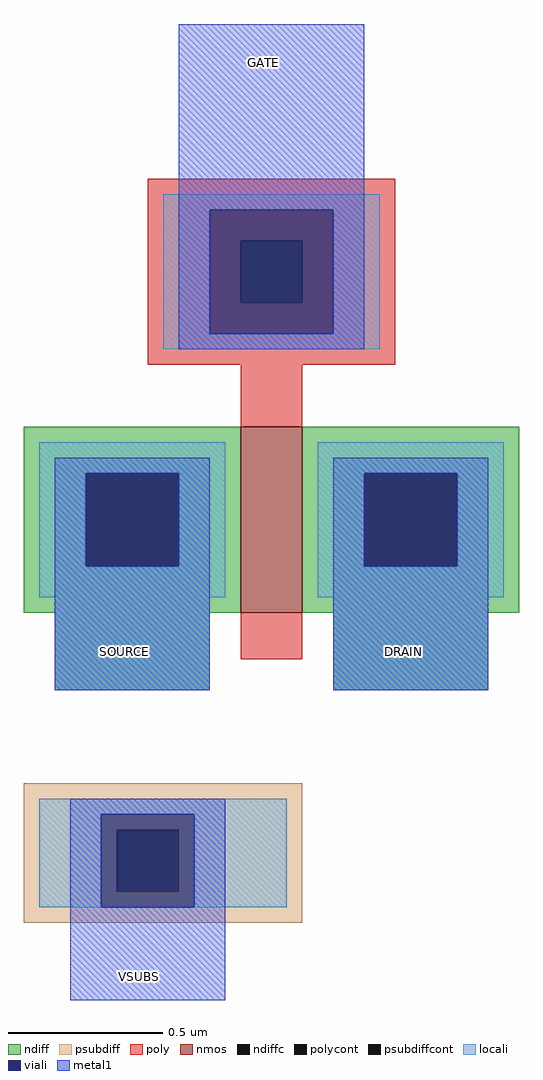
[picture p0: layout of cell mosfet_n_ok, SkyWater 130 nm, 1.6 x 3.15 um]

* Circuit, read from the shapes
.subckt mosfet_n_ok SOURCE DRAIN GATE VSUBS
XM1 DRAIN GATE SOURCE VSUBS sky130_fd_pr__nfet_01v8 w=0.6 l=0.2
.ends

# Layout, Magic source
magic
tech sky130A
<< nmos >>
rect 20 0 40 60
<< ndiff >>
rect -50 45 20 60
rect -50 15 -30 45
rect 0 15 20 45
rect -50 0 20 15
rect 40 45 110 60
rect 40 15 60 45
rect 90 15 110 45
rect 40 0 110 15
rect -40 -25 10 0
rect 50 -25 100 0
<< ndiffc >>
rect -30 15 0 45
rect 60 15 90 45
<< psubdiff >>
rect -50 -70 40 -55
rect -50 -90 -20 -70
rect 0 -90 40 -70
rect -50 -100 40 -90
<< psubdiffcont >>
rect -20 -90 0 -70
<< poly >>
rect -10 120 70 140
rect -10 100 20 120
rect 40 100 70 120
rect -10 80 70 100
rect 20 60 40 80
rect 20 -15 40 0
<< polycont >>
rect 20 100 40 120
<< locali >>
rect -5 130 65 135
rect -5 90 10 130
rect 50 90 65 130
rect -5 85 65 90
rect -45 45 15 55
rect -45 15 -30 45
rect 0 15 15 45
rect -45 5 15 15
rect 45 45 105 55
rect 45 15 60 45
rect 90 15 105 45
rect 45 5 105 15
rect -40 -25 10 5
rect 50 -25 100 5
rect -45 -65 35 -60
rect -45 -95 -25 -65
rect 5 -95 35 -65
<< viali >>
rect 10 120 50 130
rect 10 100 20 120
rect 20 100 40 120
rect 40 100 50 120
rect 10 90 50 100
rect -30 15 0 45
rect 60 15 90 45
rect -25 -70 5 -65
rect -25 -90 -20 -70
rect -20 -90 0 -70
rect 0 -90 5 -70
rect -25 -95 5 -90
<< metal1 >>
rect 0 130 60 190
rect 0 90 10 130
rect 50 90 60 130
rect 0 85 60 90
rect -40 45 10 50
rect -40 15 -30 45
rect 0 15 10 45
rect -40 -25 10 15
rect 50 45 100 50
rect 50 15 60 45
rect 90 15 100 45
rect 50 -25 100 15
rect -35 -65 15 -60
rect -35 -95 -25 -65
rect 5 -95 15 -65
rect -35 -125 15 -95
<< labels >>
rlabel metal1 25 175 30 180 1 GATE
port 3 n
rlabel metal1 70 -15 75 -10 1 DRAIN
port 2 n
rlabel metal1 -20 -15 -15 -10 1 SOURCE
port 1 n
rlabel metal1 -15 -120 -10 -115 1 VSUBS
port 4 n
<< end >>
